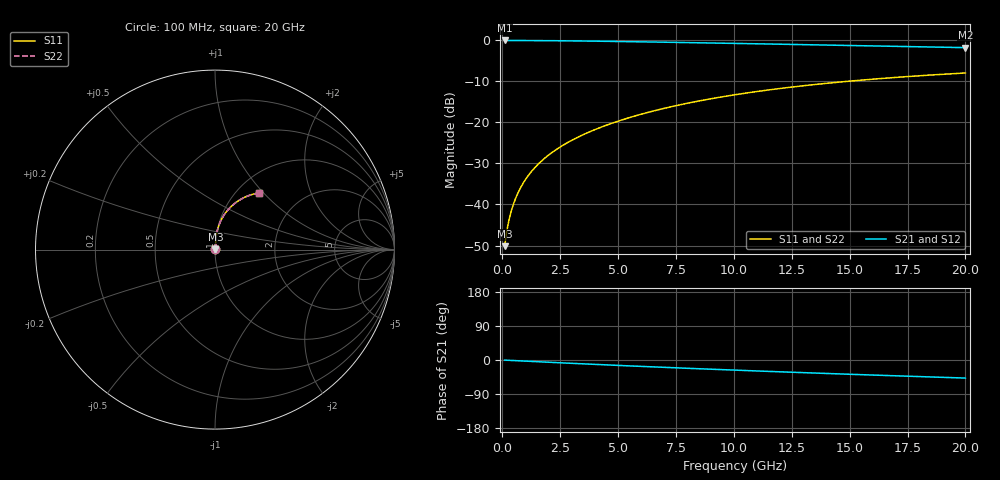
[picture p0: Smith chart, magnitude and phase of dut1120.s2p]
! Touchstone file exported from HFSS 2024.1.0
!  File:  C:/UserFiles/LocalFiles/RDL_TSV_Batchsim/temp_RDL_top_1120_1780047064.aedt
!  Generated:  05:33:08 PM May 29, 2026
!  Design:  RDL_top
!  Project:  temp_RDL_top_1120_1780047064
!  Setup:  Setup1
!  Solution:  Sweep
! Variables:
!  dtsv = 10.80580581um
!  hbump = 3um
!  htsv = 87.63um
!  ldown = 100um
!  lrdl = 678.95um
!  p = 40
!  p1 = 57.56um
!  rhole = 1um
!  t = 450um
!  tdown = 3.915915916um
!  trdl = 4.91um
!  wdown = 15.38538539um
!  wrdl = 24.03um
# GHz S MA R 50.000000
! Terminal data exported
! Port[1] = Box2_T1
! Port[2] = Box2_T2
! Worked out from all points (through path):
!   200 points, 100 MHz to 20 GHz, reference 50 ohm
!   highest |S21| = -0.02 dB at 100 MHz (marker M1); lowest = -1.8 dB at 20 GHz (marker M2)
!   group delay of S21, straight-line fit = 6.55 ps
!   lowest |S11| = -50.2 dB at 100 MHz (marker M3), VSWR 1.01, Z = 50.2 + j0.218 ohm
!   |S11| at or under -10 dB: start of sweep to 14.87 GHz
!   |S22| runs from -50.2 to -8.0 dB; largest |S21 - S12| = 1.6e-14
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0.1  0.003104 44.4  0.9978 -0.3  0.9978 -0.3  0.003104 44.4
! Gamma 0 0 0 0
! Port Impedance 50 0 50 0
0.2  0.004848 60.7  0.9976 -0.6  0.9976 -0.6  0.004848 60.7
0.3  0.006689 68.0  0.9974 -0.9  0.9974 -0.9  0.006689 68.0
0.4  0.008556 72.4  0.9972 -1.2  0.9972 -1.2  0.008556 72.4
0.5  0.01044 75.2  0.9971 -1.5  0.9971 -1.5  0.01044 75.2
0.6  0.01235 77.3  0.9969 -1.8  0.9969 -1.8  0.01235 77.3
0.8  0.01621 80.0  0.9965 -2.4  0.9965 -2.4  0.01622 79.9
1.1  0.02208 82.2  0.9957 -3.3  0.9957 -3.3  0.02208 82.2
1.5  0.03001 83.7  0.9943 -4.5  0.9943 -4.5  0.03001 83.7
1.8  0.03601 84.3  0.993 -5.3  0.993 -5.3  0.03601 84.3
2.1  0.04206 84.6  0.9915 -6.2  0.9915 -6.2  0.04206 84.6
2.7  0.05434 84.9  0.988 -7.9  0.988 -7.9  0.05433 84.8
3.5  0.07107 84.6  0.9823 -10.2  0.9823 -10.2  0.07105 84.6
4.2  0.08607 84.1  0.9767 -12.1  0.9767 -12.1  0.08604 84.1
5  0.1036 83.2  0.9696 -14.3  0.9696 -14.3  0.1035 83.2
6.8  0.1441 80.3  0.9523 -18.9  0.9523 -18.9  0.144 80.3
8.4  0.1806 77.1  0.9359 -22.9  0.9359 -22.9  0.1804 77.1
10.1  0.2186 73.4  0.9182 -26.9  0.9182 -26.9  0.2184 73.4
11.7  0.2531 69.8  0.9013 -30.5  0.9013 -30.5  0.2529 69.8
13.4  0.2879 66.0  0.8833 -34.3  0.8833 -34.3  0.2876 65.9
16.7  0.3488 58.8  0.8489 -41.2  0.8489 -41.2  0.3484 58.7
20  0.4006 52.1  0.8157 -47.7  0.8157 -47.7  0.4001 52.0
